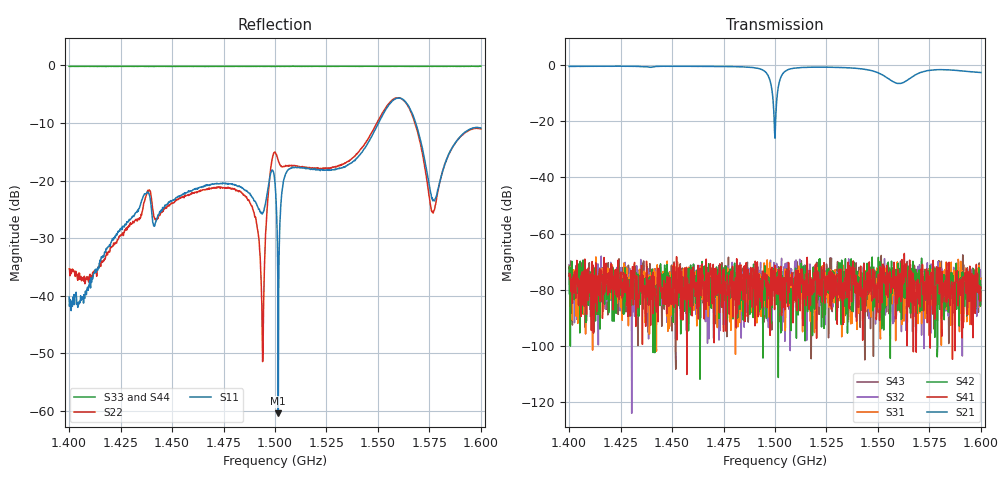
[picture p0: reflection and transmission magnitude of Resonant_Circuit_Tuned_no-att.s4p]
#  HZ  S  DB  R  50.00
! Rohde & Schwarz Vector Network Analyzer
! Rohde-Schwarz,ZNB8-4Port,1311601044102961,2.82
! Created: UTC 1/17/2019, 3:44:46 PM
! freq[Hz]  db:S11  ang:S11  db:S12  ang:S12  db:S13  ang:S13  db:S14  ang:S14
!  db:S21  ang:S21  db:S22  ang:S22  db:S23  ang:S23  db:S24  ang:S24
!  db:S31  ang:S31  db:S32  ang:S32  db:S33  ang:S33  db:S34  ang:S34
!  db:S41  ang:S41  db:S42  ang:S42  db:S43  ang:S43  db:S44  ang:S44
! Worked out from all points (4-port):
!   1001 points, 1.4 GHz to 1.6 GHz, reference 50 ohm
!   strongest paths, dB at 1.4 GHz, 1.45 GHz, 1.5 GHz, 1.55 GHz, 1.6 GHz:
!     S21: -0.4, -0.3, -26.0, -2.7, -2.6
!     S41: -75.2, -85.4, -71.3, -79.5, -83.9
!     S42: -71.7, -74.7, -84.8, -78.3, -78.5
!     S31: -72.5, -79.0, -83.9, -74.2, -76.1
!     S32: -71.1, -80.1, -75.9, -81.7, -85.3
!     S43: -74.1, -94.8, -74.7, -82.2, -75.9
!   lowest |S11| = -60.4 dB at 1.502 GHz (marker M1), VSWR 1.00, Z = 50.1 - j0.0615 ohm
!   |S11| at or under -10 dB: start of sweep to 1.55 GHz; 1.568 GHz to end of sweep
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1.4e9  -40.23 -166.7  -0.44 20.5  -74.43 77.3  -80.93 78.6
       -0.41 20.3  -35.33 10.6  -81.70 -100.4  -97.92 118.2
       -72.51 -40.0  -71.13 -132.0  -0.18 8.6  -78.67 131.7
       -75.19 -114.3  -71.72 16.1  -74.14 -160.6  -0.11 9.7
1.494e9  -25.67 159.3  -1.68 -167.8  -78.24 -164.4  -88.88 129.6
         -1.66 -168.0  -51.43 49.2  -75.12 -29.8  -76.16 52.1
         -76.30 136.2  -91.91 114.5  -0.18 9.2  -79.63 -10.0
         -80.21 159.0  -78.89 -152.9  -87.16 -2.5  -0.11 10.2
1.5016e9  -60.40 -40.0  -7.76 -77.6  -79.91 -105.8  -76.54 -43.1
          -7.72 -77.9  -16.55 143.2  -79.90 -69.7  -78.88 -40.0
          -78.05 -22.4  -78.54 -76.5  -0.16 9.4  -85.16 161.0
          -79.91 -35.3  -111.35 127.2  -87.22 76.7  -0.10 10.3
1.5248e9  -18.20 80.5  -0.71 170.7  -77.18 -165.9  -75.69 -162.6
          -0.69 170.5  -17.82 76.7  -76.96 -144.3  -82.37 0.5
          -82.72 -179.3  -78.51 110.6  -0.18 9.6  -83.51 105.7
          -81.88 119.9  -77.98 -151.2  -74.98 -37.5  -0.10 10.6
1.5556e9  -6.76 -93.9  -5.07 10.9  -87.15 163.1  -78.32 -70.6
          -5.03 10.8  -6.49 -82.7  -101.05 42.0  -81.65 58.2
          -75.72 28.1  -86.89 -71.0  -0.18 9.6  -75.27 -174.6
          -75.32 -60.7  -78.88 -113.6  -72.30 -148.5  -0.11 10.6
1.5732e9  -17.40 114.8  -2.07 167.6  -76.07 87.3  -80.81 140.3
          -2.04 167.3  -18.61 113.2  -86.83 -150.2  -75.14 167.3
          -75.53 -124.0  -79.07 126.3  -0.18 9.8  -80.88 133.8
          -81.77 49.7  -77.23 77.6  -86.71 -114.1  -0.10 10.7
1.6e9  -10.91 71.9  -2.60 -7.1  -77.24 -70.6  -80.54 80.4
       -2.58 -7.6  -11.04 82.0  -81.00 118.3  -82.03 108.7
       -76.05 89.1  -85.33 60.7  -0.16 10.1  -78.29 -113.6
       -83.88 6.9  -78.52 -118.2  -75.91 -179.0  -0.10 11.0
